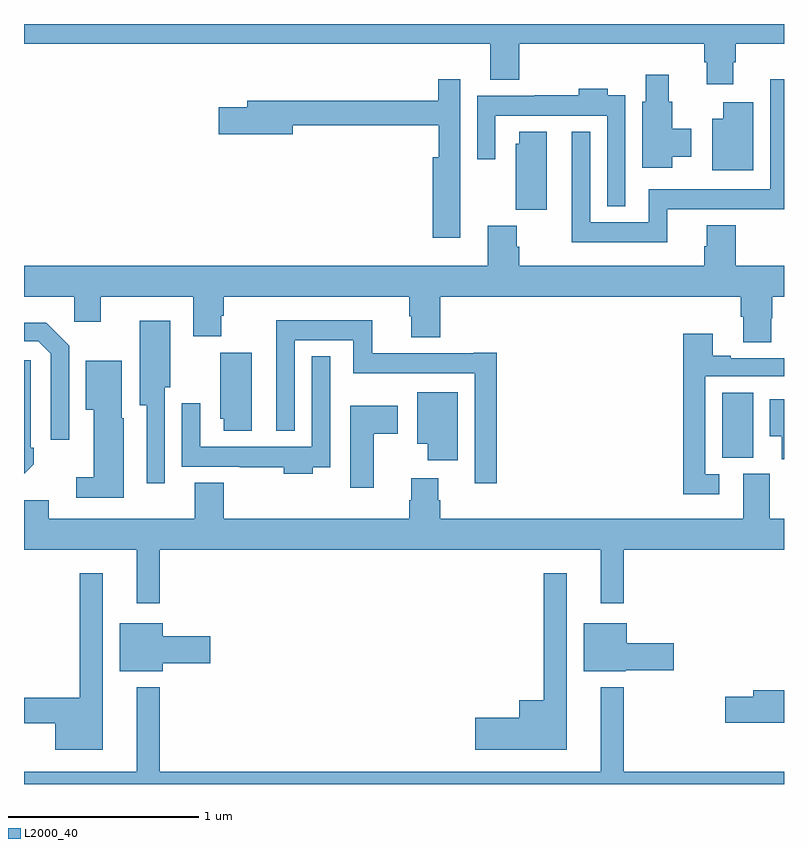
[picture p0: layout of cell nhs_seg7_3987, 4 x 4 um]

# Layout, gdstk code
import gdstk
lib = gdstk.Library(unit=1e-6, precision=1e-09)
def R(c, l, rs):  # rectangles x0, y0, x1, y1
    for r in rs: c.add(gdstk.rectangle(r[:2], r[2:], *l))
def P(c, l, *ps):  # polygons
    for p in ps: c.add(gdstk.Polygon(p, *l))
L2000_40 = (2000, 40)

nhs_seg7_3987 = lib.new_cell('nhs_seg7_3987')
R(nhs_seg7_3987, L2000_40, [(366.674,1051.717,366.838,1052.06)])
P(nhs_seg7_3987, L2000_40, [(366.733,1053.798),(366.746,1053.798),(366.746,1053.896),(367,1053.896),(367,1054),(363,1054),(363,1053.896),(365.453,1053.896),(365.453,1053.707),(365.606,1053.707),(365.606,1053.896),(366.581,1053.896),(366.581,1053.798),(366.593,1053.798),(366.593,1053.684),(366.733,1053.684)],
  [(366.412,1053.302),(366.511,1053.302),(366.511,1053.45),(366.412,1053.45),(366.412,1053.591),(366.394,1053.591),(366.394,1053.733),(366.272,1053.733),(366.272,1053.591),(366.254,1053.591),(366.254,1053.243),(366.412,1053.243)],
  [(365.296,1053.194),(365.295,1053.194),(365.295,1053.709),(365.179,1053.709),(365.179,1053.595),(364.175,1053.595),(364.175,1053.561),(364.026,1053.561),(364.026,1053.419),(364.414,1053.419),(364.414,1053.466),(365.183,1053.466),(365.183,1053.298),(365.15,1053.298),(365.15,1052.874),(365.296,1052.874)],
  [(366.386,1053.026),(366.92,1053.026),(366.92,1053.024),(367,1053.024),(367,1053.709),(366.927,1053.709),(366.927,1053.13),(366.288,1053.13),(366.288,1052.956),(365.979,1052.956),(365.979,1053.433),(365.882,1053.433),(365.882,1052.852),(366.386,1052.852)],
  [(366.165,1053.625),(366.073,1053.625),(366.073,1053.658),(365.921,1053.658),(365.921,1053.625),(365.689,1053.625),(365.689,1053.622),(365.385,1053.622),(365.385,1053.288),(365.481,1053.288),(365.481,1053.518),(366.069,1053.518),(366.069,1053.041),(366.165,1053.041)],
  [(366.838,1053.589),(366.68,1053.589),(366.68,1053.502),(366.623,1053.502),(366.623,1053.23),(366.838,1053.23)],
  [(365.752,1053.433),(365.606,1053.433),(365.606,1053.369),(365.588,1053.369),(365.588,1053.022),(365.752,1053.022)],
  [(363,1052.564),(363.264,1052.564),(363.264,1052.433),(363.403,1052.433),(363.403,1052.564),(363.892,1052.564),(363.892,1052.356),(364.039,1052.356),(364.039,1052.465),(364.052,1052.465),(364.052,1052.564),(365.027,1052.564),(365.027,1052.463),(365.039,1052.463),(365.039,1052.351),(365.192,1052.351),(365.192,1052.564),(366.773,1052.564),(366.773,1052.458),(366.785,1052.458),(366.785,1052.326),(366.933,1052.326),(366.933,1052.451),(366.938,1052.451),(366.938,1052.564),(367,1052.564),(367,1052.728),(366.746,1052.728),(366.746,1052.941),(366.593,1052.941),(366.593,1052.829),(366.581,1052.829),(366.581,1052.728),(365.606,1052.728),(365.606,1052.828),(365.593,1052.828),(365.593,1052.937),(365.441,1052.937),(365.441,1052.728),(363,1052.728)],
  [(365.489,1052.269),(365.366,1052.269),(365.366,1052.266),(364.832,1052.266),(364.832,1052.44),(364.328,1052.44),(364.328,1051.859),(364.425,1051.859),(364.425,1052.336),(364.734,1052.336),(364.734,1052.162),(365.373,1052.162),(365.373,1051.584),(365.489,1051.584)],
  [(363.741,1052.088),(363.769,1052.088),(363.769,1052.437),(363.608,1052.437),(363.608,1051.994),(363.645,1051.994),(363.645,1051.584),(363.741,1051.584)],
  [(363.237,1052.307),(363.116,1052.428),(363,1052.428),(363,1052.331),(363.075,1052.331),(363.141,1052.265),(363.141,1051.812),(363.237,1051.812)],
  [(366.658,1051.629),(366.585,1051.629),(366.585,1052.145),(367,1052.145),(367,1052.241),(366.721,1052.241),(366.721,1052.254),(366.625,1052.254),(366.625,1052.371),(366.469,1052.371),(366.469,1051.524),(366.658,1051.524)],
  [(364.198,1052.271),(364.034,1052.271),(364.034,1051.923),(364.052,1051.923),(364.052,1051.86),(364.198,1051.86)],
  [(364.519,1051.668),(364.611,1051.668),(364.611,1052.251),(364.515,1052.251),(364.515,1051.774),(363.927,1051.774),(363.927,1052.005),(363.831,1052.005),(363.831,1051.67),(364.135,1051.67),(364.135,1051.668),(364.367,1051.668),(364.367,1051.634),(364.519,1051.634)],
  [(363.051,1051.683),(363.051,1051.771),(363.036,1051.771),(363.036,1052.229),(363,1052.229),(363,1051.632)],
  [(363.526,1051.926),(363.514,1051.926),(363.514,1052.227),(363.326,1052.227),(363.326,1051.97),(363.368,1051.97),(363.368,1051.615),(363.276,1051.615),(363.276,1051.506),(363.526,1051.506)],
  [(365.284,1052.062),(365.069,1052.062),(365.069,1051.79),(365.126,1051.79),(365.126,1051.704),(365.284,1051.704)],
  [(367,1052.026),(366.926,1052.026),(366.926,1051.829),(366.989,1051.829),(366.989,1051.71),(367,1051.71)],
  [(364.84,1051.843),(364.966,1051.843),(364.966,1051.99),(364.718,1051.99),(364.718,1051.56),(364.84,1051.56)],
  [(363.715,1051.232),(366.035,1051.232),(366.035,1050.951),(366.157,1050.951),(366.157,1051.232),(367,1051.232),(367,1051.396),(366.925,1051.396),(366.925,1051.632),(366.785,1051.632),(366.785,1051.396),(365.192,1051.396),(365.192,1051.494),(365.179,1051.494),(365.179,1051.609),(365.039,1051.609),(365.039,1051.494),(365.027,1051.494),(365.027,1051.396),(364.052,1051.396),(364.052,1051.585),(363.899,1051.585),(363.899,1051.396),(363.13,1051.396),(363.13,1051.494),(363,1051.494),(363,1051.232),(363.593,1051.232),(363.593,1050.951),(363.715,1050.951)],
  [(365.857,1051.108),(365.736,1051.108),(365.736,1050.442),(365.606,1050.442),(365.606,1050.35),(365.376,1050.35),(365.376,1050.179),(365.857,1050.179)],
  [(363.415,1051.108),(363.294,1051.108),(363.294,1050.455),(363,1050.455),(363,1050.32),(363.164,1050.32),(363.164,1050.179),(363.415,1050.179)],
  [(366.168,1050.599),(366.421,1050.599),(366.421,1050.741),(366.172,1050.741),(366.172,1050.847),(365.945,1050.847),(365.945,1050.593),(366.168,1050.593)],
  [(363.73,1050.635),(363.979,1050.635),(363.979,1050.777),(363.73,1050.777),(363.73,1050.847),(363.503,1050.847),(363.503,1050.593),(363.73,1050.593)],
  [(367,1050.064),(366.157,1050.064),(366.157,1050.508),(366.035,1050.508),(366.035,1050.064),(363.715,1050.064),(363.715,1050.508),(363.593,1050.508),(363.593,1050.064),(363,1050.064),(363,1050),(367,1050)],
  [(367,1050.494),(366.839,1050.494),(366.839,1050.458),(366.69,1050.458),(366.69,1050.323),(367,1050.323)])

lib.write_gds('nhs_seg7_3987.gds')
